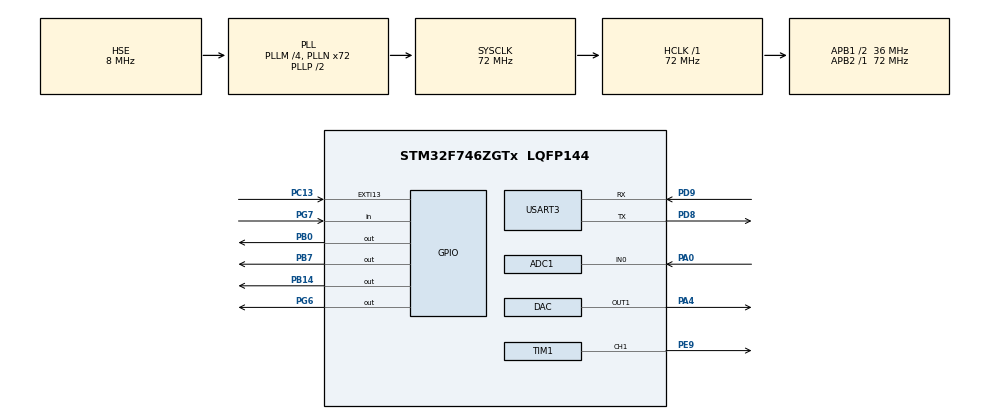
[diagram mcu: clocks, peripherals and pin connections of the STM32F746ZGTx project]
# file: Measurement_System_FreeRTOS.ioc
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ADC1.Channel-0\#ChannelRegularConversion=ADC_CHANNEL_0
ADC1.ExternalTrigConv=ADC_EXTERNALTRIGCONV_T1_CC1
ADC1.ExternalTrigConvEdge=ADC_EXTERNALTRIGCONVEDGE_RISING
ADC1.NbrOfConversion=1
ADC1.NbrOfConversionFlag=1
ADC1.Rank-0\#ChannelRegularConversion=1
ADC1.SamplingTime-0\#ChannelRegularConversion=ADC_SAMPLETIME_3CYCLES
ADC1.master=1
DAC.DAC_Trigger=DAC_TRIGGER_T6_TRGO
DAC.TriangleAmplitude=DAC_TRIANGLEAMPLITUDE_4095
DAC.WaveGeneration=TriangleWaveGeneration
Mcu.Family=STM32F7
Mcu.Name=STM32F746ZGTx
Mcu.Package=LQFP144
NVIC.ADC_IRQn=true\:10\:0\:true\:false\:true\:true\:true
NVIC.PriorityGroup=NVIC_PRIORITYGROUP_4
NVIC.TIM7_IRQn=true\:0\:0\:false\:false\:true\:false\:true
NVIC.TimeBase=TIM7_IRQn
NVIC.TimeBaseIP=TIM7
PA0/WKUP.Signal=ADCx_IN0
PA1.GPIO_Mode=GPIO_MODE_AF_PP
PA1.GPIO_PuPd=GPIO_NOPULL
PA1.GPIO_Speed=GPIO_SPEED_FREQ_VERY_HIGH
PA1.Signal=ETH_REF_CLK
PA10.GPIO_Mode=GPIO_MODE_AF_PP
PA10.GPIO_PuPd=GPIO_NOPULL
PA10.GPIO_Speed=GPIO_SPEED_FREQ_VERY_HIGH
PA10.Signal=USB_OTG_FS_ID
PA11.GPIO_Mode=GPIO_MODE_AF_PP
PA11.GPIO_PuPd=GPIO_NOPULL
PA11.GPIO_Speed=GPIO_SPEED_FREQ_VERY_HIGH
PA11.Signal=USB_OTG_FS_DM
PA12.GPIO_Mode=GPIO_MODE_AF_PP
PA12.GPIO_PuPd=GPIO_NOPULL
PA12.GPIO_Speed=GPIO_SPEED_FREQ_VERY_HIGH
PA12.Signal=USB_OTG_FS_DP
PA13.Mode=Serial_Wire
PA13.Signal=SYS_JTMS-SWDIO
PA14.Mode=Serial_Wire
PA14.Signal=SYS_JTCK-SWCLK
PA2.GPIO_Mode=GPIO_MODE_AF_PP
PA2.GPIO_PuPd=GPIO_NOPULL
PA2.GPIO_Speed=GPIO_SPEED_FREQ_VERY_HIGH
PA2.Signal=ETH_MDIO
PA4.Signal=COMP_DAC1_group
PA7.GPIO_Mode=GPIO_MODE_AF_PP
PA7.GPIO_PuPd=GPIO_NOPULL
PA7.GPIO_Speed=GPIO_SPEED_FREQ_VERY_HIGH
PA7.Signal=ETH_CRS_DV
PA8.GPIO_Mode=GPIO_MODE_AF_PP
PA8.GPIO_PuPd=GPIO_NOPULL
PA8.GPIO_Speed=GPIO_SPEED_FREQ_VERY_HIGH
PA8.Signal=USB_OTG_FS_SOF
PA9.GPIO_Mode=GPIO_MODE_INPUT
PA9.GPIO_PuPd=GPIO_NOPULL
PA9.Signal=USB_OTG_FS_VBUS
PB0.GPIO_ModeDefaultOutputPP=GPIO_MODE_OUTPUT_PP
PB0.GPIO_PuPd=GPIO_NOPULL
PB0.GPIO_Speed=GPIO_SPEED_FREQ_LOW
PB0.PinState=GPIO_PIN_RESET
PB0.Signal=GPIO_Output
PB13.GPIO_Mode=GPIO_MODE_AF_PP
PB13.GPIO_PuPd=GPIO_NOPULL
PB13.GPIO_Speed=GPIO_SPEED_FREQ_VERY_HIGH
PB13.Signal=ETH_TXD1
PB14.GPIO_ModeDefaultOutputPP=GPIO_MODE_OUTPUT_PP
PB14.GPIO_PuPd=GPIO_NOPULL
PB14.GPIO_Speed=GPIO_SPEED_FREQ_LOW
PB14.PinState=GPIO_PIN_RESET
PB14.Signal=GPIO_Output
PB3.Signal=SYS_JTDO-SWO
PB7.GPIO_ModeDefaultOutputPP=GPIO_MODE_OUTPUT_PP
PB7.GPIO_PuPd=GPIO_NOPULL
PB7.GPIO_Speed=GPIO_SPEED_FREQ_LOW
PB7.PinState=GPIO_PIN_RESET
PB7.Signal=GPIO_Output
PC1.GPIO_Mode=GPIO_MODE_AF_PP
PC1.GPIO_PuPd=GPIO_NOPULL
PC1.GPIO_Speed=GPIO_SPEED_FREQ_VERY_HIGH
PC1.Signal=ETH_MDC
PC13.GPIO_ModeDefaultEXTI=GPIO_MODE_IT_RISING
PC13.GPIO_PuPd=GPIO_NOPULL
PC13.Signal=GPXTI13
PC14/OSC32_IN.Mode=LSE-External-Oscillator
PC14/OSC32_IN.Signal=RCC_OSC32_IN
PC15/OSC32_OUT.Mode=LSE-External-Oscillator
PC15/OSC32_OUT.Signal=RCC_OSC32_OUT
PC4.GPIO_Mode=GPIO_MODE_AF_PP
PC4.GPIO_PuPd=GPIO_NOPULL
PC4.GPIO_Speed=GPIO_SPEED_FREQ_VERY_HIGH
PC4.Signal=ETH_RXD0
PC5.GPIO_Mode=GPIO_MODE_AF_PP
PC5.GPIO_PuPd=GPIO_NOPULL
PC5.GPIO_Speed=GPIO_SPEED_FREQ_VERY_HIGH
PC5.Signal=ETH_RXD1
PD8.GPIO_ModeDefaultPP=GPIO_MODE_AF_PP
PD8.GPIO_PuPd=GPIO_NOPULL
PD8.GPIO_Speed=GPIO_SPEED_FREQ_VERY_HIGH
PD8.Mode=Asynchronous
PD8.Signal=USART3_TX
PD9.GPIO_ModeDefaultPP=GPIO_MODE_AF_PP
PD9.GPIO_PuPd=GPIO_NOPULL
PD9.GPIO_Speed=GPIO_SPEED_FREQ_VERY_HIGH
PD9.Mode=Asynchronous
PD9.Signal=USART3_RX
PE9.Signal=S_TIM1_CH1
PG11.GPIO_Mode=GPIO_MODE_AF_PP
PG11.GPIO_PuPd=GPIO_NOPULL
PG11.GPIO_Speed=GPIO_SPEED_FREQ_VERY_HIGH
PG11.Signal=ETH_TX_EN
PG13.GPIO_Mode=GPIO_MODE_AF_PP
PG13.GPIO_PuPd=GPIO_NOPULL
PG13.GPIO_Speed=GPIO_SPEED_FREQ_VERY_HIGH
PG13.Signal=ETH_TXD0
PG6.GPIO_ModeDefaultOutputPP=GPIO_MODE_OUTPUT_PP
PG6.GPIO_PuPd=GPIO_NOPULL
PG6.GPIO_Speed=GPIO_SPEED_FREQ_LOW
PG6.PinState=GPIO_PIN_RESET
PG6.Signal=GPIO_Output
PG7.GPIO_Mode=GPIO_MODE_INPUT
PG7.GPIO_PuPd=GPIO_NOPULL
PG7.Signal=GPIO_Input
PH0/OSC_IN.Mode=HSE-External-Clock-Source
PH0/OSC_IN.Signal=RCC_OSC_IN
PH1/OSC_OUT.Mode=HSE-External-Clock-Source
PH1/OSC_OUT.Signal=RCC_OSC_OUT
ProjectManager.HeapSize=0x200
ProjectManager.StackSize=0x400
ProjectManager.TargetToolchain=MDK-ARM V5.27
RCC.48MHZClocksFreq_Value=24000000
RCC.AHBFreq_Value=72000000
RCC.APB1CLKDivider=RCC_HCLK_DIV2
RCC.APB1Freq_Value=36000000
RCC.APB1TimFreq_Value=72000000
RCC.APB2Freq_Value=72000000
RCC.APB2TimFreq_Value=72000000
RCC.CortexFreq_Value=72000000
RCC.HCLKFreq_Value=72000000
RCC.HSE_VALUE=8000000
RCC.HSI_VALUE=16000000
RCC.PLLM=4
RCC.PLLMUL=RCC_PLL_MUL9
RCC.PLLN=72
RCC.PLLQ=3
RCC.PLLSourceVirtual=RCC_PLLSOURCE_HSE
RCC.PRESCALERUSB=RCC_USBCLKSOURCE_PLL_DIV1_5
RCC.SYSCLKFreq_VALUE=72000000
RCC.SYSCLKSource=RCC_SYSCLKSOURCE_PLLCLK
RCC.SYSCLKSourceVirtual=RCC_SYSCLKSOURCE_PLLCLK
RCC.USBFreq_Value=48000000
RCC.VCOOutputFreq_Value=144000000
SH.ADCx_IN0.0=ADC1_IN0,IN0
SH.COMP_DAC1_group.0=DAC_OUT1,DAC_OUT1
SH.S_TIM1_CH1.0=TIM1_CH1,Output Compare1 CH1
TIM1.AutoReloadPreload=TIM_AUTORELOAD_PRELOAD_ENABLE
TIM1.Channel-Output\ Compare1\ CH1=TIM_CHANNEL_1
TIM1.CounterMode=TIM_COUNTERMODE_DOWN
TIM1.OCMode_1=TIM_OCMODE_TOGGLE
TIM1.Period=1000
TIM1.Prescaler=7200
TIM6.AutoReloadPreload=TIM_AUTORELOAD_PRELOAD_ENABLE
TIM6.Period=100
TIM6.Prescaler=720
TIM6.TIM_MasterOutputTrigger=TIM_TRGO_UPDATE
USART3.VirtualMode-Asynchronous=VM_ASYNC
VP_SYS_VS_tim7.Mode=TIM7
VP_TIM1_VS_ClockSourceINT.Mode=Internal
VP_TIM6_VS_ClockSourceINT.Mode=Enable_Timer
board=NUCLEO-F746ZG

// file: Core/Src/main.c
/* USER CODE BEGIN Header */
/**
  ******************************************************************************
  * @file           : main.c
  * @brief          : Main program body
  ******************************************************************************
  * @attention
  *
  * <h2><center>&copy; Copyright (c) 2020 STMicroelectronics.
  * All rights reserved.</center></h2>
  *
  * This software component is licensed by ST under BSD 3-Clause license,
  * the "License"; You may not use this file except in compliance with the
  * License. You may obtain a copy of the License at:
  *                        opensource.org/licenses/BSD-3-Clause
  *
  ******************************************************************************
  */
/* USER CODE END Header */

#include "main.h"

/* USER CODE BEGIN Includes */
# include <stdio.h>
/* USER CODE END Includes */

ADC_HandleTypeDef hadc1;
DAC_HandleTypeDef hdac;
TIM_HandleTypeDef htim1;
TIM_HandleTypeDef htim6;
UART_HandleTypeDef huart3;

static void SystemClock_Config(void);
static void MX_GPIO_Init(void);
static void MX_USART3_UART_Init(void);
static void MX_TIM1_Init(void);
static void MX_ADC1_Init(void);
static void MX_DAC_Init(void);
static void MX_TIM6_Init(void);
static void MX_NVIC_Init(void);

/* USER CODE BEGIN 0 */
extern void	executeMeasurementApplication(void);
/* USER CODE END 0 */

int main(void)
{

  /* MCU Configuration--------------------------------------------------------*/

  /* Reset of all peripherals, Initializes the Flash interface and the Systick. */
  HAL_Init();

  /* Configure the system clock */
  SystemClock_Config();

  /* Initialize all configured peripherals */
  MX_GPIO_Init();
  MX_USART3_UART_Init();
  MX_TIM1_Init();
  MX_ADC1_Init();
  MX_DAC_Init();
  MX_TIM6_Init();

	/* Initialize interrupts */
  MX_NVIC_Init();

  /* USER CODE BEGIN 2 */
	HAL_DAC_Start(&hdac, DAC_CHANNEL_1);			// triabgle wave generation
	HAL_TIM_Base_Start(&htim6);								// trigger for DAC1

	__HAL_UART_ENABLE_IT(&huart3, UART_IT_RXNE); /* enable USART3 receive interrupt */

	BSP_LED_Init(LED_GREEN);
	BSP_LED_Init(LED_RED);
	BSP_LED_Init(LED_BLUE);

	BSP_PB_Init(BUTTON_USER, BUTTON_MODE_GPIO);

	/* disable stdin and stdout puffer for retargeting to UART */
  setvbuf(stdout, NULL, _IONBF, 0);	/* switch off default 1024 byte stdout buffer */
  setvbuf(stdin,  NULL, _IONBF, 0);	/* switch off the default 1024 byte stdin buffer  */

	printf("\nMeasurement System - FreeRTOS");
	printf("\nRTOS-ARCH Seminar");
	printf("\nMicroConsult GmbH");
	printf("\nHardware initialization successful ...\n");

	executeMeasurementApplication();
  /* USER CODE END 2 */

  /* Infinite loop */
  while (1)
  {

  }
}

void SystemClock_Config(void)
{
  RCC_OscInitTypeDef RCC_OscInitStruct = {0};
  RCC_ClkInitTypeDef RCC_ClkInitStruct = {0};
  RCC_PeriphCLKInitTypeDef PeriphClkInitStruct = {0};

  /** Configure LSE Drive Capability
  */
  HAL_PWR_EnableBkUpAccess();
  /** Configure the main internal regulator output voltage
  */
  __HAL_RCC_PWR_CLK_ENABLE();
  __HAL_PWR_VOLTAGESCALING_CONFIG(PWR_REGULATOR_VOLTAGE_SCALE3);
  /** Initializes the CPU, AHB and APB busses clocks
  */
  RCC_OscInitStruct.OscillatorType = RCC_OSCILLATORTYPE_HSE;
  RCC_OscInitStruct.HSEState = RCC_HSE_BYPASS;
  RCC_OscInitStruct.PLL.PLLState = RCC_PLL_ON;
  RCC_OscInitStruct.PLL.PLLSource = RCC_PLLSOURCE_HSE;
  RCC_OscInitStruct.PLL.PLLM = 4;
  RCC_OscInitStruct.PLL.PLLN = 72;
  RCC_OscInitStruct.PLL.PLLP = RCC_PLLP_DIV2;
  RCC_OscInitStruct.PLL.PLLQ = 3;
  if (HAL_RCC_OscConfig(&RCC_OscInitStruct) != HAL_OK)
  {
    Error_Handler();
  }
  /** Initializes the CPU, AHB and APB busses clocks
  */
  RCC_ClkInitStruct.ClockType = RCC_CLOCKTYPE_HCLK|RCC_CLOCKTYPE_SYSCLK
                              |RCC_CLOCKTYPE_PCLK1|RCC_CLOCKTYPE_PCLK2;
  RCC_ClkInitStruct.SYSCLKSource = RCC_SYSCLKSOURCE_PLLCLK;
  RCC_ClkInitStruct.AHBCLKDivider = RCC_SYSCLK_DIV1;
  RCC_ClkInitStruct.APB1CLKDivider = RCC_HCLK_DIV2;
  RCC_ClkInitStruct.APB2CLKDivider = RCC_HCLK_DIV1;

  if (HAL_RCC_ClockConfig(&RCC_ClkInitStruct, FLASH_LATENCY_2) != HAL_OK)
  {
    Error_Handler();
  }
  PeriphClkInitStruct.PeriphClockSelection = RCC_PERIPHCLK_USART3;
  PeriphClkInitStruct.Usart3ClockSelection = RCC_USART3CLKSOURCE_PCLK1;
  if (HAL_RCCEx_PeriphCLKConfig(&PeriphClkInitStruct) != HAL_OK)
  {
    Error_Handler();
  }
}

/**
  * @brief NVIC Configuration.
  * @retval None
  */
static void MX_NVIC_Init(void)
{
  /* USART3_IRQn interrupt configuration */
  HAL_NVIC_SetPriority(USART3_IRQn, 8, 0);
  HAL_NVIC_EnableIRQ(USART3_IRQn);
}

static void MX_ADC1_Init(void)
{

  ADC_ChannelConfTypeDef sConfig = {0};

  /** Configure the global features of the ADC (Clock, Resolution, Data Alignment and number of conversion)
  */
  hadc1.Instance = ADC1;
  hadc1.Init.ClockPrescaler = ADC_CLOCK_SYNC_PCLK_DIV2;
  hadc1.Init.Resolution = ADC_RESOLUTION_12B;
  hadc1.Init.ScanConvMode = ADC_SCAN_DISABLE;
  hadc1.Init.ContinuousConvMode = DISABLE;
  hadc1.Init.DiscontinuousConvMode = DISABLE;
  hadc1.Init.ExternalTrigConvEdge = ADC_EXTERNALTRIGCONVEDGE_RISING;
  hadc1.Init.ExternalTrigConv = ADC_EXTERNALTRIGCONV_T1_CC1;
  hadc1.Init.DataAlign = ADC_DATAALIGN_RIGHT;
  hadc1.Init.NbrOfConversion = 1;
  hadc1.Init.DMAContinuousRequests = DISABLE;
  hadc1.Init.EOCSelection = ADC_EOC_SINGLE_CONV;
  if (HAL_ADC_Init(&hadc1) != HAL_OK)
  {
    Error_Handler();
  }
  /** Configure for the selected ADC regular channel its corresponding rank in the sequencer and its sample time.
  */
  sConfig.Channel = ADC_CHANNEL_0;
  sConfig.Rank = ADC_REGULAR_RANK_1;
  sConfig.SamplingTime = ADC_SAMPLETIME_3CYCLES;
  if (HAL_ADC_ConfigChannel(&hadc1, &sConfig) != HAL_OK)
  {
    Error_Handler();
  }

}

static void MX_DAC_Init(void)
{

  DAC_ChannelConfTypeDef sConfig = {0};

  /** DAC Initialization
  */
  hdac.Instance = DAC;
  if (HAL_DAC_Init(&hdac) != HAL_OK)
  {
    Error_Handler();
  }
  /** DAC channel OUT1 config
  */
  sConfig.DAC_Trigger = DAC_TRIGGER_T6_TRGO;
  sConfig.DAC_OutputBuffer = DAC_OUTPUTBUFFER_ENABLE;
  if (HAL_DAC_ConfigChannel(&hdac, &sConfig, DAC_CHANNEL_1) != HAL_OK)
  {
    Error_Handler();
  }
  /** Configure Triangle wave generation on DAC OUT1
  */
  if (HAL_DACEx_TriangleWaveGenerate(&hdac, DAC_CHANNEL_1, DAC_TRIANGLEAMPLITUDE_4095) != HAL_OK)
  {
    Error_Handler();
  }

}

static void MX_TIM1_Init(void)
{

  TIM_ClockConfigTypeDef sClockSourceConfig = {0};
  TIM_MasterConfigTypeDef sMasterConfig = {0};
  TIM_OC_InitTypeDef sConfigOC = {0};
  TIM_BreakDeadTimeConfigTypeDef sBreakDeadTimeConfig = {0};

  htim1.Instance = TIM1;
  htim1.Init.Prescaler = 7200;
  htim1.Init.CounterMode = TIM_COUNTERMODE_DOWN;
  htim1.Init.Period = 1000;
  htim1.Init.ClockDivision = TIM_CLOCKDIVISION_DIV1;
  htim1.Init.RepetitionCounter = 0;
  htim1.Init.AutoReloadPreload = TIM_AUTORELOAD_PRELOAD_ENABLE;
  if (HAL_TIM_Base_Init(&htim1) != HAL_OK)
  {
    Error_Handler();
  }
  sClockSourceConfig.ClockSource = TIM_CLOCKSOURCE_INTERNAL;
  if (HAL_TIM_ConfigClockSource(&htim1, &sClockSourceConfig) != HAL_OK)
  {
    Error_Handler();
  }
  if (HAL_TIM_OC_Init(&htim1) != HAL_OK)
  {
    Error_Handler();
  }
  sMasterConfig.MasterOutputTrigger = TIM_TRGO_RESET;
  sMasterConfig.MasterOutputTrigger2 = TIM_TRGO2_RESET;
  sMasterConfig.MasterSlaveMode = TIM_MASTERSLAVEMODE_DISABLE;
  if (HAL_TIMEx_MasterConfigSynchronization(&htim1, &sMasterConfig) != HAL_OK)
  {
    Error_Handler();
  }
  sConfigOC.OCMode = TIM_OCMODE_TOGGLE;
  sConfigOC.Pulse = 0;
  sConfigOC.OCPolarity = TIM_OCPOLARITY_HIGH;
  sConfigOC.OCNPolarity = TIM_OCNPOLARITY_HIGH;
  sConfigOC.OCFastMode = TIM_OCFAST_DISABLE;
  sConfigOC.OCIdleState = TIM_OCIDLESTATE_RESET;
  sConfigOC.OCNIdleState = TIM_OCNIDLESTATE_RESET;
  if (HAL_TIM_OC_ConfigChannel(&htim1, &sConfigOC, TIM_CHANNEL_1) != HAL_OK)
  {
    Error_Handler();
  }
  sBreakDeadTimeConfig.OffStateRunMode = TIM_OSSR_DISABLE;
  sBreakDeadTimeConfig.OffStateIDLEMode = TIM_OSSI_DISABLE;
  sBreakDeadTimeConfig.LockLevel = TIM_LOCKLEVEL_OFF;
  sBreakDeadTimeConfig.DeadTime = 0;
  sBreakDeadTimeConfig.BreakState = TIM_BREAK_DISABLE;
  sBreakDeadTimeConfig.BreakPolarity = TIM_BREAKPOLARITY_HIGH;
  sBreakDeadTimeConfig.BreakFilter = 0;
  sBreakDeadTimeConfig.Break2State = TIM_BREAK2_DISABLE;
  sBreakDeadTimeConfig.Break2Polarity = TIM_BREAK2POLARITY_HIGH;
  sBreakDeadTimeConfig.Break2Filter = 0;
  sBreakDeadTimeConfig.AutomaticOutput = TIM_AUTOMATICOUTPUT_DISABLE;
  if (HAL_TIMEx_ConfigBreakDeadTime(&htim1, &sBreakDeadTimeConfig) != HAL_OK)
  {
    Error_Handler();
  }
  HAL_TIM_MspPostInit(&htim1);

}

static void MX_TIM6_Init(void)
{

  TIM_MasterConfigTypeDef sMasterConfig = {0};

  htim6.Instance = TIM6;
  htim6.Init.Prescaler = 720;
  htim6.Init.CounterMode = TIM_COUNTERMODE_UP;
  htim6.Init.Period = 100;
  htim6.Init.AutoReloadPreload = TIM_AUTORELOAD_PRELOAD_ENABLE;
  if (HAL_TIM_Base_Init(&htim6) != HAL_OK)
  {
    Error_Handler();
  }
  sMasterConfig.MasterOutputTrigger = TIM_TRGO_UPDATE;
  sMasterConfig.MasterSlaveMode = TIM_MASTERSLAVEMODE_DISABLE;
  if (HAL_TIMEx_MasterConfigSynchronization(&htim6, &sMasterConfig) != HAL_OK)
  {
    Error_Handler();
  }

}

static void MX_USART3_UART_Init(void)
{

  huart3.Instance = USART3;
  huart3.Init.BaudRate = 115200;
  huart3.Init.WordLength = UART_WORDLENGTH_8B;
  huart3.Init.StopBits = UART_STOPBITS_1;
  huart3.Init.Parity = UART_PARITY_NONE;
  huart3.Init.Mode = UART_MODE_TX_RX;
  huart3.Init.HwFlowCtl = UART_HWCONTROL_NONE;
  huart3.Init.OverSampling = UART_OVERSAMPLING_16;
  huart3.Init.OneBitSampling = UART_ONE_BIT_SAMPLE_DISABLE;
  huart3.AdvancedInit.AdvFeatureInit = UART_ADVFEATURE_NO_INIT;
  if (HAL_UART_Init(&huart3) != HAL_OK)
  {
    Error_Handler();
  }

}

static void MX_GPIO_Init(void)
{
  GPIO_InitTypeDef GPIO_InitStruct = {0};

  /* GPIO Ports Clock Enable */
  __HAL_RCC_GPIOC_CLK_ENABLE();
  __HAL_RCC_GPIOH_CLK_ENABLE();
  __HAL_RCC_GPIOA_CLK_ENABLE();
  __HAL_RCC_GPIOB_CLK_ENABLE();
  __HAL_RCC_GPIOE_CLK_ENABLE();
  __HAL_RCC_GPIOD_CLK_ENABLE();
  __HAL_RCC_GPIOG_CLK_ENABLE();

  /*Configure GPIO pin Output Level */
  HAL_GPIO_WritePin(GPIOB, GPIO_PIN_0|GPIO_PIN_14|GPIO_PIN_7, GPIO_PIN_RESET);

  /*Configure GPIO pin Output Level */
  HAL_GPIO_WritePin(GPIOG, GPIO_PIN_6, GPIO_PIN_RESET);

  /*Configure GPIO pin : PC13 */
  GPIO_InitStruct.Pin = GPIO_PIN_13;
  GPIO_InitStruct.Mode = GPIO_MODE_IT_RISING;
  GPIO_InitStruct.Pull = GPIO_NOPULL;
  HAL_GPIO_Init(GPIOC, &GPIO_InitStruct);

  /*Configure GPIO pins : PC1 PC4 PC5 */
  GPIO_InitStruct.Pin = GPIO_PIN_1|GPIO_PIN_4|GPIO_PIN_5;
  GPIO_InitStruct.Mode = GPIO_MODE_AF_PP;
  GPIO_InitStruct.Pull = GPIO_NOPULL;
  GPIO_InitStruct.Speed = GPIO_SPEED_FREQ_VERY_HIGH;
  GPIO_InitStruct.Alternate = GPIO_AF11_ETH;
  HAL_GPIO_Init(GPIOC, &GPIO_InitStruct);

  /*Configure GPIO pins : PA1 PA2 PA7 */
  GPIO_InitStruct.Pin = GPIO_PIN_1|GPIO_PIN_2|GPIO_PIN_7;
  GPIO_InitStruct.Mode = GPIO_MODE_AF_PP;
  GPIO_InitStruct.Pull = GPIO_NOPULL;
  GPIO_InitStruct.Speed = GPIO_SPEED_FREQ_VERY_HIGH;
  GPIO_InitStruct.Alternate = GPIO_AF11_ETH;
  HAL_GPIO_Init(GPIOA, &GPIO_InitStruct);

  /*Configure GPIO pins : PB0 PB14 PB7 */
  GPIO_InitStruct.Pin = GPIO_PIN_0|GPIO_PIN_14|GPIO_PIN_7;
  GPIO_InitStruct.Mode = GPIO_MODE_OUTPUT_PP;
  GPIO_InitStruct.Pull = GPIO_NOPULL;
  GPIO_InitStruct.Speed = GPIO_SPEED_FREQ_LOW;
  HAL_GPIO_Init(GPIOB, &GPIO_InitStruct);

  /*Configure GPIO pin : PB13 */
  GPIO_InitStruct.Pin = GPIO_PIN_13;
  GPIO_InitStruct.Mode = GPIO_MODE_AF_PP;
  GPIO_InitStruct.Pull = GPIO_NOPULL;
  GPIO_InitStruct.Speed = GPIO_SPEED_FREQ_VERY_HIGH;
  GPIO_InitStruct.Alternate = GPIO_AF11_ETH;
  HAL_GPIO_Init(GPIOB, &GPIO_InitStruct);

  /*Configure GPIO pin : PG6 */
  GPIO_InitStruct.Pin = GPIO_PIN_6;
  GPIO_InitStruct.Mode = GPIO_MODE_OUTPUT_PP;
  GPIO_InitStruct.Pull = GPIO_NOPULL;
  GPIO_InitStruct.Speed = GPIO_SPEED_FREQ_LOW;
  HAL_GPIO_Init(GPIOG, &GPIO_InitStruct);

  /*Configure GPIO pin : PG7 */
  GPIO_InitStruct.Pin = GPIO_PIN_7;
  GPIO_InitStruct.Mode = GPIO_MODE_INPUT;
  GPIO_InitStruct.Pull = GPIO_NOPULL;
  HAL_GPIO_Init(GPIOG, &GPIO_InitStruct);

  /*Configure GPIO pins : PA8 PA10 PA11 PA12 */
  GPIO_InitStruct.Pin = GPIO_PIN_8|GPIO_PIN_10|GPIO_PIN_11|GPIO_PIN_12;
  GPIO_InitStruct.Mode = GPIO_MODE_AF_PP;
  GPIO_InitStruct.Pull = GPIO_NOPULL;
  GPIO_InitStruct.Speed = GPIO_SPEED_FREQ_VERY_HIGH;
  GPIO_InitStruct.Alternate = GPIO_AF10_OTG_FS;
  HAL_GPIO_Init(GPIOA, &GPIO_InitStruct);

  /*Configure GPIO pin : PA9 */
  GPIO_InitStruct.Pin = GPIO_PIN_9;
  GPIO_InitStruct.Mode = GPIO_MODE_INPUT;
  GPIO_InitStruct.Pull = GPIO_NOPULL;
  HAL_GPIO_Init(GPIOA, &GPIO_InitStruct);

  /*Configure GPIO pins : PG11 PG13 */
  GPIO_InitStruct.Pin = GPIO_PIN_11|GPIO_PIN_13;
  GPIO_InitStruct.Mode = GPIO_MODE_AF_PP;
  GPIO_InitStruct.Pull = GPIO_NOPULL;
  GPIO_InitStruct.Speed = GPIO_SPEED_FREQ_VERY_HIGH;
  GPIO_InitStruct.Alternate = GPIO_AF11_ETH;
  HAL_GPIO_Init(GPIOG, &GPIO_InitStruct);

}

/* USER CODE BEGIN 4 */
/* Input and output retargeting functions */
int stdout_putchar(int Character)
{
  HAL_UART_Transmit(&huart3, (uint8_t *)&Character, 1, 0xFFFF);

  return Character;
}

int stdin_getchar(void)
{
  int locCharacter = 0;

	HAL_UART_Receive(&huart3, (uint8_t *)&locCharacter, 1, HAL_MAX_DELAY);

  return locCharacter;
}
/* USER CODE END 4 */

 /**
  * @brief  Period elapsed callback in non blocking mode
  * @note   This function is called  when TIM7 interrupt took place, inside
  * HAL_TIM_IRQHandler(). It makes a direct call to HAL_IncTick() to increment
  * a global variable "uwTick" used as application time base.
  * @param  htim : TIM handle
  * @retval None
  */
void HAL_TIM_PeriodElapsedCallback(TIM_HandleTypeDef *htim)
{
  if (htim->Instance == TIM7) {
    HAL_IncTick();
  }
}

void Error_Handler(void)
{
  /* USER CODE BEGIN Error_Handler_Debug */
  /* User can add his own implementation to report the HAL error return state */
	BSP_LED_On(LED_RED);

	while(1)
	{
		// wait forever
	}
  /* USER CODE END Error_Handler_Debug */
}

/************************ (C) COPYRIGHT STMicroelectronics *****END OF FILE****/
